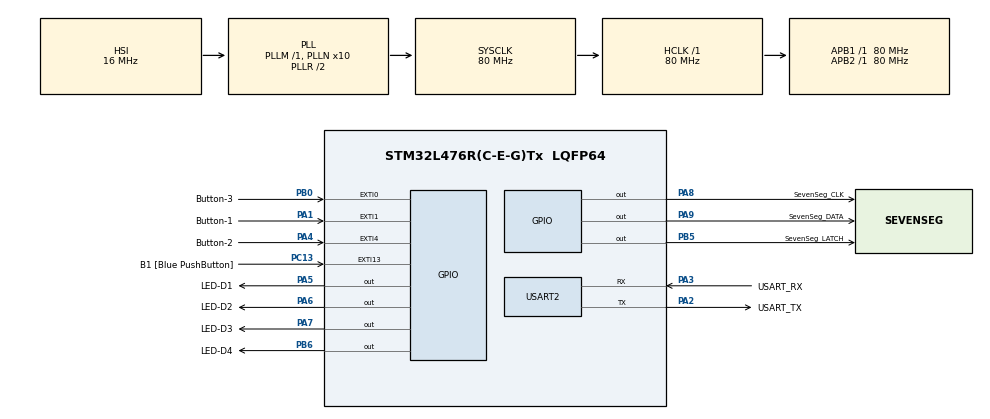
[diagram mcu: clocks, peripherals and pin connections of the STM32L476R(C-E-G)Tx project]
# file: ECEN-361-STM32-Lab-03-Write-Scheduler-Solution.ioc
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Mcu.Family=STM32L4
Mcu.Name=STM32L476R(C-E-G)Tx
Mcu.Package=LQFP64
NVIC.EXTI0_IRQn=true\:0\:0\:false\:false\:true\:true\:true\:true
NVIC.EXTI1_IRQn=true\:0\:0\:false\:false\:true\:true\:true\:true
NVIC.EXTI4_IRQn=true\:0\:0\:false\:false\:true\:true\:true\:true
NVIC.PriorityGroup=NVIC_PRIORITYGROUP_4
NVIC.TIM1_BRK_TIM15_IRQn=true\:0\:0\:false\:false\:true\:true\:true\:true
PA0.Signal=ADCx_IN5
PA1.GPIO_Label=Button-1
PA1.GPIO_ModeDefaultEXTI=GPIO_MODE_IT_FALLING
PA1.Signal=GPXTI1
PA13\ (JTMS-SWDIO).GPIO_Label=TMS
PA13\ (JTMS-SWDIO).Mode=Serial_Wire
PA13\ (JTMS-SWDIO).Signal=SYS_JTMS-SWDIO
PA14\ (JTCK-SWCLK).GPIO_Label=TCK
PA14\ (JTCK-SWCLK).Mode=Serial_Wire
PA14\ (JTCK-SWCLK).Signal=SYS_JTCK-SWCLK
PA2.GPIO_Label=USART_TX
PA2.GPIO_Mode=GPIO_MODE_AF_PP
PA2.GPIO_PuPd=GPIO_NOPULL
PA2.GPIO_Speed=GPIO_SPEED_FREQ_VERY_HIGH
PA2.Mode=Asynchronous
PA2.Signal=USART2_TX
PA3.GPIO_Label=USART_RX
PA3.GPIO_Mode=GPIO_MODE_AF_PP
PA3.GPIO_PuPd=GPIO_NOPULL
PA3.GPIO_Speed=GPIO_SPEED_FREQ_VERY_HIGH
PA3.Mode=Asynchronous
PA3.Signal=USART2_RX
PA4.GPIO_Label=Button-2
PA4.GPIO_ModeDefaultEXTI=GPIO_MODE_IT_FALLING
PA4.Signal=GPXTI4
PA5.GPIO_Label=LED-D1
PA5.Signal=GPIO_Output
PA6.GPIO_Label=LED-D2
PA6.Signal=GPIO_Output
PA7.GPIO_Label=LED-D3
PA7.Signal=GPIO_Output
PA8.GPIO_Label=SevenSeg_CLK
PA8.Signal=GPIO_Output
PA9.GPIO_Label=SevenSeg_DATA
PA9.Signal=GPIO_Output
PB0.GPIO_Label=Button-3
PB0.GPIO_ModeDefaultEXTI=GPIO_MODE_IT_FALLING
PB0.Signal=GPXTI0
PB3\ (JTDO-TRACESWO).Signal=SYS_JTDO-SWO
PB5.GPIO_Label=SevenSeg_LATCH
PB5.Signal=GPIO_Output
PB6.GPIO_Label=LED-D4
PB6.Signal=GPIO_Output
PC1.GPIO_Label=LM35_IN
PC1.Signal=ADCx_IN2
PC13.GPIO_Label=B1 [Blue PushButton]
PC13.GPIO_ModeDefaultEXTI=GPIO_MODE_IT_FALLING
PC13.GPIO_PuPd=GPIO_NOPULL
PC13.Signal=GPXTI13
PC14-OSC32_IN\ (PC14).Mode=LSE-External-Oscillator
PC14-OSC32_IN\ (PC14).Signal=RCC_OSC32_IN
PC15-OSC32_OUT\ (PC15).Mode=LSE-External-Oscillator
PC15-OSC32_OUT\ (PC15).Signal=RCC_OSC32_OUT
PH0-OSC_IN\ (PH0).Signal=RCC_OSC_IN
PH1-OSC_OUT\ (PH1).Signal=RCC_OSC_OUT
ProjectManager.HeapSize=0x200
ProjectManager.StackSize=0x400
ProjectManager.TargetToolchain=STM32CubeIDE
RCC.ADCFreq_Value=64000000
RCC.AHBFreq_Value=80000000
RCC.APB1Freq_Value=80000000
RCC.APB1TimFreq_Value=80000000
RCC.APB2Freq_Value=80000000
RCC.APB2TimFreq_Value=80000000
RCC.CortexFreq_Value=80000000
RCC.HCLKFreq_Value=80000000
RCC.HSE_VALUE=8000000
RCC.HSI_VALUE=16000000
RCC.MSI_VALUE=4000000
RCC.PLLN=10
RCC.PLLSourceVirtual=RCC_PLLSOURCE_HSI
RCC.PREFETCH_ENABLE=1
RCC.SYSCLKFreq_VALUE=80000000
RCC.SYSCLKSource=RCC_SYSCLKSOURCE_PLLCLK
RCC.USBFreq_Value=64000000
RCC.VCOOutputFreq_Value=160000000
SH.ADCx_IN2.0=ADC1_IN2
SH.ADCx_IN5.0=ADC2_IN5
TIM1.Period=10000
TIM1.Prescaler=8000-1
TIM17.Period=100
TIM17.Prescaler=800-1
USART2.VirtualMode-Asynchronous=VM_ASYNC
VP_TIM17_VS_ClockSourceINT.Mode=Enable_Timer
VP_TIM1_VS_ClockSourceINT.Mode=Internal
board=NUCLEO-L476RG

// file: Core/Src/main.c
/* USER CODE BEGIN Header */
/**
  ******************************************************************************
  * @file           : main.c
  * @brief          : Main program body
  ******************************************************************************
  * @attention
  *
  * Copyright (c) 2023 STMicroelectronics.
  * All rights reserved.
  *
  * This software is licensed under terms that can be found in the LICENSE file
  * in the root directory of this software component.
  * If no LICENSE file comes with this software, it is provided AS-IS.
  *
  ******************************************************************************
  * @copyright	BYU-Idaho
  * @date		2023
  * @version	F23
  * @note		For course ECEN-361
  * @author		Lynn Watson
  ******************************************************************************
  *
  * Student should only modify code between
  ************** STUDENT EDITABLE HERE STARTS HERE *****
  ************** STUDENT EDITABLE HERE ENDS HERE *******
  *
  ******************************************************************************
  */
/* USER CODE END Header */
#include "main.h"

/* USER CODE BEGIN Includes */
#include "MultiFunctionShield.h"
#include "ecen-361-lab03-support.h"
#include <stdio.h>

/* USER CODE END Includes */

TIM_HandleTypeDef htim1;
TIM_HandleTypeDef htim17;

UART_HandleTypeDef huart2;

void SystemClock_Config(void);
static void MX_GPIO_Init(void);
static void MX_USART2_UART_Init(void);
static void MX_TIM17_Init(void);
static void MX_TIM1_Init(void);
/* USER CODE BEGIN PFP */
/* Private function prototypes -----------------------------------------------*/
#define PUTCHAR_PROTOTYPE int __io_putchar(int ch)
void MultiFunctionShield_WriteNumberToSegment(uint8_t digit);
void MultiFunctionShield_Display (int16_t value);
void MultiFunctionShield__ISRFunc(void);
void MultiFunctionShield_Clear(void);

/* USER CODE END PFP */

/* USER CODE BEGIN 0 */

/******************************** STUDENT EDITABLE HERE STARTS HERE ***********************/
  void Scheduler_Dispatch()
      {
      /* uWTick is updated each SysTick*/
      uint32_t runTime = uwTick - last_runtime;     /* Save how long this slice has been going */
      last_runtime = uwTick;
      task_cb task = NULL;
      /*
       * YOUR CODE GOES HERE
       * Note that you should also look at the 'suspended' piece of information
       * in the task_control block to see if the scheduler needs to skip the task for now
       */
  /******************************** STUDENT EDITABLE ENDS HERE ***********************/

         task();	// The task is called!
         return;
         }

/* USER CODE END 0 */

int main(void)
{

  /* MCU Configuration--------------------------------------------------------*/

  /* Reset of all peripherals, Initializes the Flash interface and the Systick. */
  HAL_Init();

  /* USER CODE BEGIN Init */
  // HAL_GPIO_WritePin(Buzzer_GPIO_Port, Buzzer_Pin, 0);

  /* USER CODE END Init */

  /* Configure the system clock */
  SystemClock_Config();

  /* Initialize all configured peripherals */
  MX_GPIO_Init();
  MX_USART2_UART_Init();
  MX_TIM17_Init();
  MX_TIM1_Init();
  /* USER CODE BEGIN 2 */
  HAL_TIM_Base_Start_IT(&htim17);  // LED SevenSeg cycle thru them
  // Clear the Seven-Segments
  MultiFunctionShield_Clear();

  // Clear the lights
  HAL_GPIO_WritePin(LED_D1_GPIO_Port, LED_D1_Pin,GPIO_PIN_SET);
  HAL_GPIO_WritePin(LED_D2_GPIO_Port, LED_D2_Pin,GPIO_PIN_SET);
  HAL_GPIO_WritePin(LED_D3_GPIO_Port, LED_D3_Pin,GPIO_PIN_SET);
  HAL_GPIO_WritePin(LED_D4_GPIO_Port, LED_D4_Pin,GPIO_PIN_SET);

	//MultiFunctionShield_Display(10000);  // Out of range  will display "----"
  /* USER CODE END 2 */

  /* Infinite loop */
  /* USER CODE BEGIN WHILE */
  printf("\033\143\n");  // clear the terminal before printing
  printf("Starting Lab-03:  Write a scheduler\n\r\n\r");  // clear the terminal before printing
  HAL_Delay(1000);

	Scheduler_Init();
	// Start task arguments are:
	//      start offset in ms, period in ms, function callback
	Scheduler_StartTask(700, D1_task);
	Scheduler_StartTask(1500, D4_task);
	//

  while (1)
  {
    /* USER CODE END WHILE */

    /* USER CODE BEGIN 3 */
	Scheduler_Dispatch();
  }
  /* USER CODE END 3 */
}

void SystemClock_Config(void)
{
  RCC_OscInitTypeDef RCC_OscInitStruct = {0};
  RCC_ClkInitTypeDef RCC_ClkInitStruct = {0};

  /** Configure the main internal regulator output voltage
  */
  if (HAL_PWREx_ControlVoltageScaling(PWR_REGULATOR_VOLTAGE_SCALE1) != HAL_OK)
  {
    Error_Handler();
  }

  /** Initializes the RCC Oscillators according to the specified parameters
  * in the RCC_OscInitTypeDef structure.
  */
  RCC_OscInitStruct.OscillatorType = RCC_OSCILLATORTYPE_HSI;
  RCC_OscInitStruct.HSIState = RCC_HSI_ON;
  RCC_OscInitStruct.HSICalibrationValue = RCC_HSICALIBRATION_DEFAULT;
  RCC_OscInitStruct.PLL.PLLState = RCC_PLL_ON;
  RCC_OscInitStruct.PLL.PLLSource = RCC_PLLSOURCE_HSI;
  RCC_OscInitStruct.PLL.PLLM = 1;
  RCC_OscInitStruct.PLL.PLLN = 10;
  RCC_OscInitStruct.PLL.PLLP = RCC_PLLP_DIV7;
  RCC_OscInitStruct.PLL.PLLQ = RCC_PLLQ_DIV2;
  RCC_OscInitStruct.PLL.PLLR = RCC_PLLR_DIV2;
  if (HAL_RCC_OscConfig(&RCC_OscInitStruct) != HAL_OK)
  {
    Error_Handler();
  }

  /** Initializes the CPU, AHB and APB buses clocks
  */
  RCC_ClkInitStruct.ClockType = RCC_CLOCKTYPE_HCLK|RCC_CLOCKTYPE_SYSCLK
                              |RCC_CLOCKTYPE_PCLK1|RCC_CLOCKTYPE_PCLK2;
  RCC_ClkInitStruct.SYSCLKSource = RCC_SYSCLKSOURCE_PLLCLK;
  RCC_ClkInitStruct.AHBCLKDivider = RCC_SYSCLK_DIV1;
  RCC_ClkInitStruct.APB1CLKDivider = RCC_HCLK_DIV1;
  RCC_ClkInitStruct.APB2CLKDivider = RCC_HCLK_DIV1;

  if (HAL_RCC_ClockConfig(&RCC_ClkInitStruct, FLASH_LATENCY_4) != HAL_OK)
  {
    Error_Handler();
  }
}

static void MX_TIM1_Init(void)
{

  TIM_ClockConfigTypeDef sClockSourceConfig = {0};
  TIM_MasterConfigTypeDef sMasterConfig = {0};

  htim1.Instance = TIM1;
  htim1.Init.Prescaler = 8000-1;
  htim1.Init.CounterMode = TIM_COUNTERMODE_UP;
  htim1.Init.Period = 10000;
  htim1.Init.ClockDivision = TIM_CLOCKDIVISION_DIV1;
  htim1.Init.RepetitionCounter = 0;
  htim1.Init.AutoReloadPreload = TIM_AUTORELOAD_PRELOAD_DISABLE;
  if (HAL_TIM_Base_Init(&htim1) != HAL_OK)
  {
    Error_Handler();
  }
  sClockSourceConfig.ClockSource = TIM_CLOCKSOURCE_INTERNAL;
  if (HAL_TIM_ConfigClockSource(&htim1, &sClockSourceConfig) != HAL_OK)
  {
    Error_Handler();
  }
  sMasterConfig.MasterOutputTrigger = TIM_TRGO_RESET;
  sMasterConfig.MasterOutputTrigger2 = TIM_TRGO2_RESET;
  sMasterConfig.MasterSlaveMode = TIM_MASTERSLAVEMODE_DISABLE;
  if (HAL_TIMEx_MasterConfigSynchronization(&htim1, &sMasterConfig) != HAL_OK)
  {
    Error_Handler();
  }

}

static void MX_TIM17_Init(void)
{

  htim17.Instance = TIM17;
  htim17.Init.Prescaler = 800-1;
  htim17.Init.CounterMode = TIM_COUNTERMODE_UP;
  htim17.Init.Period = 100;
  htim17.Init.ClockDivision = TIM_CLOCKDIVISION_DIV1;
  htim17.Init.RepetitionCounter = 0;
  htim17.Init.AutoReloadPreload = TIM_AUTORELOAD_PRELOAD_DISABLE;
  if (HAL_TIM_Base_Init(&htim17) != HAL_OK)
  {
    Error_Handler();
  }

}

static void MX_USART2_UART_Init(void)
{

  huart2.Instance = USART2;
  huart2.Init.BaudRate = 115200;
  huart2.Init.WordLength = UART_WORDLENGTH_8B;
  huart2.Init.StopBits = UART_STOPBITS_1;
  huart2.Init.Parity = UART_PARITY_NONE;
  huart2.Init.Mode = UART_MODE_TX_RX;
  huart2.Init.HwFlowCtl = UART_HWCONTROL_NONE;
  huart2.Init.OverSampling = UART_OVERSAMPLING_16;
  huart2.Init.OneBitSampling = UART_ONE_BIT_SAMPLE_DISABLE;
  huart2.AdvancedInit.AdvFeatureInit = UART_ADVFEATURE_NO_INIT;
  if (HAL_UART_Init(&huart2) != HAL_OK)
  {
    Error_Handler();
  }

}

static void MX_GPIO_Init(void)
{
  GPIO_InitTypeDef GPIO_InitStruct = {0};

  /* GPIO Ports Clock Enable */
  __HAL_RCC_GPIOC_CLK_ENABLE();
  __HAL_RCC_GPIOH_CLK_ENABLE();
  __HAL_RCC_GPIOA_CLK_ENABLE();
  __HAL_RCC_GPIOB_CLK_ENABLE();

  /*Configure GPIO pin Output Level */
  HAL_GPIO_WritePin(GPIOA, LED_D1_Pin|LED_D2_Pin|LED_D3_Pin|SevenSeg_CLK_Pin
                          |SevenSeg_DATA_Pin, GPIO_PIN_RESET);

  /*Configure GPIO pin Output Level */
  HAL_GPIO_WritePin(GPIOB, SevenSeg_LATCH_Pin|LED_D4_Pin, GPIO_PIN_RESET);

  /*Configure GPIO pin : B1_Pin */
  GPIO_InitStruct.Pin = B1_Pin;
  GPIO_InitStruct.Mode = GPIO_MODE_IT_FALLING;
  GPIO_InitStruct.Pull = GPIO_NOPULL;
  HAL_GPIO_Init(B1_GPIO_Port, &GPIO_InitStruct);

  /*Configure GPIO pin : LM35_IN_Pin */
  GPIO_InitStruct.Pin = LM35_IN_Pin;
  GPIO_InitStruct.Mode = GPIO_MODE_ANALOG_ADC_CONTROL;
  GPIO_InitStruct.Pull = GPIO_NOPULL;
  HAL_GPIO_Init(LM35_IN_GPIO_Port, &GPIO_InitStruct);

  /*Configure GPIO pin : PA0 */
  GPIO_InitStruct.Pin = GPIO_PIN_0;
  GPIO_InitStruct.Mode = GPIO_MODE_ANALOG_ADC_CONTROL;
  GPIO_InitStruct.Pull = GPIO_NOPULL;
  HAL_GPIO_Init(GPIOA, &GPIO_InitStruct);

  /*Configure GPIO pins : Button_1_Pin Button_2_Pin */
  GPIO_InitStruct.Pin = Button_1_Pin|Button_2_Pin;
  GPIO_InitStruct.Mode = GPIO_MODE_IT_FALLING;
  GPIO_InitStruct.Pull = GPIO_NOPULL;
  HAL_GPIO_Init(GPIOA, &GPIO_InitStruct);

  /*Configure GPIO pins : LED_D1_Pin LED_D2_Pin LED_D3_Pin SevenSeg_CLK_Pin
                           SevenSeg_DATA_Pin */
  GPIO_InitStruct.Pin = LED_D1_Pin|LED_D2_Pin|LED_D3_Pin|SevenSeg_CLK_Pin
                          |SevenSeg_DATA_Pin;
  GPIO_InitStruct.Mode = GPIO_MODE_OUTPUT_PP;
  GPIO_InitStruct.Pull = GPIO_NOPULL;
  GPIO_InitStruct.Speed = GPIO_SPEED_FREQ_LOW;
  HAL_GPIO_Init(GPIOA, &GPIO_InitStruct);

  /*Configure GPIO pin : Button_3_Pin */
  GPIO_InitStruct.Pin = Button_3_Pin;
  GPIO_InitStruct.Mode = GPIO_MODE_IT_FALLING;
  GPIO_InitStruct.Pull = GPIO_NOPULL;
  HAL_GPIO_Init(Button_3_GPIO_Port, &GPIO_InitStruct);

  /*Configure GPIO pins : SevenSeg_LATCH_Pin LED_D4_Pin */
  GPIO_InitStruct.Pin = SevenSeg_LATCH_Pin|LED_D4_Pin;
  GPIO_InitStruct.Mode = GPIO_MODE_OUTPUT_PP;
  GPIO_InitStruct.Pull = GPIO_NOPULL;
  GPIO_InitStruct.Speed = GPIO_SPEED_FREQ_LOW;
  HAL_GPIO_Init(GPIOB, &GPIO_InitStruct);

  /* EXTI interrupt init*/
  HAL_NVIC_SetPriority(EXTI0_IRQn, 0, 0);
  HAL_NVIC_EnableIRQ(EXTI0_IRQn);

  HAL_NVIC_SetPriority(EXTI1_IRQn, 0, 0);
  HAL_NVIC_EnableIRQ(EXTI1_IRQn);

  HAL_NVIC_SetPriority(EXTI4_IRQn, 0, 0);
  HAL_NVIC_EnableIRQ(EXTI4_IRQn);

}

/* USER CODE BEGIN 4 */

/**
  * @brief  Retargets the C library printf function to the USART.
  * @param  None
  * @retval None
  */
PUTCHAR_PROTOTYPE
{
  /* Place your implementation of fputc here */
  /* e.g. write a character to the USART1 and Loop until the end of transmission */
  HAL_UART_Transmit(&huart2, (uint8_t *)&ch, 1, 0xFFFF);

  return ch;
}

void HAL_GPIO_EXTI_Callback(uint16_t GPIO_Pin)
	{
	// All three buttons generate GPIO  interrupts
  /************** STUDENT EDITABLE HERE STARTS HERE *****/
	switch(GPIO_Pin)
	{
	case Button_1_Pin:
		// Toggle the suspend on task D1
		break;
	case Button_2_Pin:
		break;
	case Button_3_Pin:
		break;
	default:
      __NOP();
	}
  /************** STUDENT EDITABLE HERE ENDS HERE *****/
}

// Callback: timer has rolled over
void HAL_TIM_PeriodElapsedCallback(TIM_HandleTypeDef *htim)
	{
	// Check which version of the timer triggered this callback and toggle LED

  if (htim == &htim17 )
	  {
		  MultiFunctionShield__ISRFunc();
	  }

	}

/* USER CODE END 4 */

void Error_Handler(void)
{
  __disable_irq();
  while (1)
  {
  }
}
